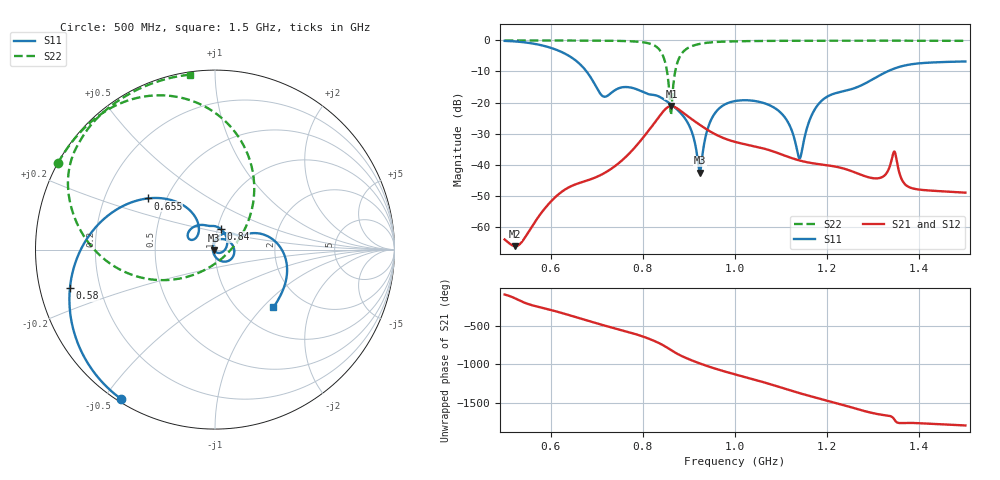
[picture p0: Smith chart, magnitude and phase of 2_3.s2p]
! TOUCHSTONE file generated by CST MICROWAVE STUDIO
! Date and time: Fri Oct 30 07:48:06 2020
! Project name: Scenario_1_Circular_Tissue_out_of_Line.cst
! Parameters = {dy1=-328.659; L_HA=400; MT=2.54; Rad_Dielectric=30; Rad_Lower=7.3; Rad_Upper=30; a_HA=580; a_WG=246; b_HA=500; b_WG=121; c_HA=0; c_WG=187; d_feed=85; dx1=520; h_feed=15; h_lower=18; h_upper=40}
! Header version: 2018
! Port assignment regex: !\s*Touchstone port\s*([0-9]+)\s*=\s*(CST MWS port|CST DS port)\s*([0-9]+|Zmin|Zmax)\s*\(\"(.*)\"\)(\s*mode\s*([0-9]+))?.*
! Touchstone port assignment:
! Touchstone port 1 = CST MWS port 1 ("")
! Touchstone port 2 = CST MWS port 2 ("")
# GHz S DB R 50
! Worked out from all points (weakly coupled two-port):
!   1001 points, 500 MHz to 1.5 GHz, reference 50 ohm
!   highest |S21| = -21.16 dB at 862 MHz (marker M1); lowest = -66.3 dB at 523 MHz (marker M2)
!   lowest |S11| = -42.6 dB at 924 MHz (marker M3), VSWR 1.01, Z = 49.3 - j0.327 ohm
!   |S11| at or under -10 dB: 677.8 MHz to 1.331 GHz (652.8 MHz wide, 65 % of centre)
!   |S22| runs from -24.1 to 0.0 dB; largest |S21 - S12| = 0.00017
!   S11 on the Smith chart (normalised r, x): 500 MHz: 0.01, -0.55; 580 MHz: 0.09, -0.13; 655 MHz: 0.39, +0.29; 840 MHz: 1.04, +0.24; 1.5 GHz: 1.41, -1.15
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0.5  -0.15 -122.4  -64.13 -92.3  -64.13 -92.3  -0.01 151.1
0.523  -0.33 -133.4  -66.29 -142.7  -66.29 -142.7  -0.01 149.6
0.58  -1.56 -165.2  -55.51 97.2  -55.51 97.2  -0.02 145.6
0.655  -6.54 142.7  -46.31 -28.5  -46.31 -28.5  -0.03 139.5
0.667  -8.15 133.8  -45.70 -50.4  -45.70 -50.4  -0.04 138.4
0.715  -18.09 141.6  -42.87 -133.2  -42.87 -133.2  -0.08 133.1
0.791  -15.99 120.0  -33.04 99.2  -33.04 99.2  -0.44 117.4
0.834  -18.01 82.4  -24.85 -1.8  -24.85 -1.8  -2.64 87.5
0.84  -18.46 74.5  -23.66 -19.8  -23.66 -19.8  -3.83 78.4
0.862  -20.71 45.7  -21.16 -99.4  -21.16 -99.4  -22.89 -80.8
0.881  -23.22 17.6  -22.57 -163.8  -22.57 -163.8  -5.02 -169.9
0.905  -28.96 -29.3  -25.25 132.9  -25.25 132.9  -1.92 167.2
0.924  -42.63 -153.3  -27.23 89.3  -27.23 89.3  -1.11 158.2
0.951  -24.74 71.3  -29.74 33.8  -29.74 33.8  -0.58 149.8
1  -19.53 4.0  -32.69 -52.4  -32.69 -52.4  -0.30 140.7
1.095  -22.72 -61.5  -36.40 145.2  -36.40 145.2  -0.13 130.4
1.14  -38.03 -172.0  -38.68 63.1  -38.68 63.1  -0.11 126.6
1.167  -23.91 82.2  -39.53 17.9  -39.53 17.9  -0.10 124.4
1.334  -9.77 10.4  -41.34 128.2  -41.37 128.2  -0.09 111.7
1.346  -9.04 4.6  -35.79 77.5  -35.77 78.0  -0.09 110.8
1.377  -7.82 -10.9  -47.21 35.5  -47.21 35.5  -0.09 108.4
1.5  -6.79 -44.7  -49.05 2.0  -49.04 2.1  -0.13 98.2
